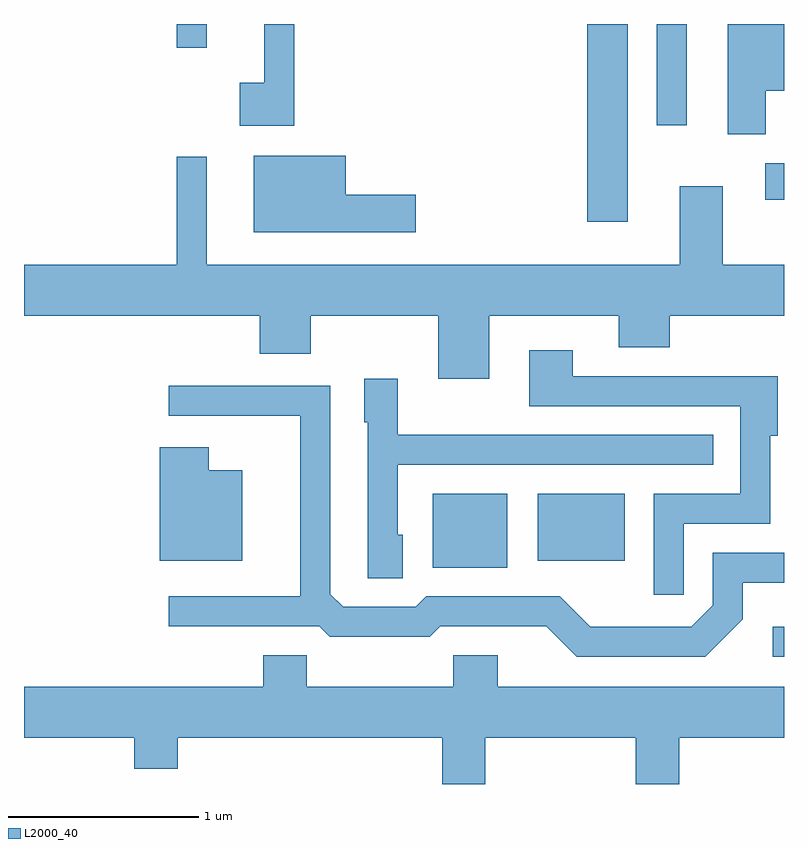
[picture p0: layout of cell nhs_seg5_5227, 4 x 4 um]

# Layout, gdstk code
import gdstk
lib = gdstk.Library(unit=1e-6, precision=1e-09)
def R(c, l, rs):  # rectangles x0, y0, x1, y1
    for r in rs: c.add(gdstk.rectangle(r[:2], r[2:], *l))
def P(c, l, *ps):  # polygons
    for p in ps: c.add(gdstk.Polygon(p, *l))
L2000_40 = (2000, 40)

nhs_seg5_5227 = lib.new_cell('nhs_seg5_5227')
R(nhs_seg5_5227, L2000_40, [(343.553,1492.741,343.611,1492.899), (341.761,1493.211,342.154,1493.599), (342.316,1493.246,342.774,1493.599), (342.576,1495.031,342.789,1496.072), (343.511,1495.146,343.611,1495.339), (342.941,1495.538,343.099,1496.072), (340.416,1495.948,340.574,1496.072)])
P(nhs_seg5_5227, L2000_40, [(343.514,1495.721),(343.611,1495.721),(343.611,1496.072),(343.316,1496.072),(343.316,1495.491),(343.514,1495.491)],
  [(341.034,1496.072),(340.876,1496.072),(340.876,1495.764),(340.746,1495.764),(340.746,1495.536),(341.034,1495.536)],
  [(341.674,1495.174),(341.304,1495.174),(341.304,1495.379),(340.821,1495.379),(340.821,1494.976),(341.674,1494.976)],
  [(342.059,1494.536),(342.741,1494.536),(342.741,1494.371),(343.009,1494.371),(343.009,1494.536),(343.611,1494.536),(343.611,1494.804),(343.289,1494.804),(343.289,1495.219),(343.061,1495.219),(343.061,1494.804),(340.574,1494.804),(340.574,1495.373),(340.416,1495.373),(340.416,1494.804),(339.611,1494.804),(339.611,1494.536),(340.851,1494.536),(340.851,1494.336),(341.119,1494.336),(341.119,1494.536),(341.791,1494.536),(341.791,1494.206),(342.059,1494.206)],
  [(343.084,1493.441),(343.539,1493.441),(343.539,1493.906),(343.579,1493.906),(343.579,1494.219),(342.499,1494.219),(342.499,1494.354),(342.271,1494.354),(342.271,1494.061),(343.381,1494.061),(343.381,1493.599),(342.926,1493.599),(342.926,1493.068),(343.084,1493.068)],
  [(341.604,1493.384),(341.579,1493.384),(341.579,1493.751),(343.238,1493.751),(343.238,1493.909),(341.579,1493.909),(341.579,1494.204),(341.401,1494.204),(341.401,1493.976),(341.421,1493.976),(341.421,1493.156),(341.604,1493.156)],
  [(343.394,1492.939),(343.394,1493.131),(343.611,1493.131),(343.611,1493.289),(343.236,1493.289),(343.236,1493.012),(343.124,1492.899),(342.592,1492.899),(342.432,1493.059),(341.729,1493.059),(341.674,1493.004),(341.292,1493.004),(341.224,1493.072),(341.224,1494.169),(340.373,1494.169),(340.373,1494.011),(341.066,1494.011),(341.066,1493.059),(340.373,1493.059),(340.373,1492.901),(341.164,1492.901),(341.219,1492.846),(341.747,1492.846),(341.802,1492.901),(342.359,1492.901),(342.519,1492.741),(343.197,1492.741)],
  [(340.759,1493.724),(340.584,1493.724),(340.584,1493.844),(340.326,1493.844),(340.326,1493.246),(340.759,1493.246)],
  [(342.039,1492.316),(342.831,1492.316),(342.831,1492.072),(343.059,1492.072),(343.059,1492.316),(343.611,1492.316),(343.611,1492.584),(342.104,1492.584),(342.104,1492.749),(341.871,1492.749),(341.871,1492.584),(341.099,1492.584),(341.099,1492.749),(340.871,1492.749),(340.871,1492.584),(339.611,1492.584),(339.611,1492.316),(340.191,1492.316),(340.191,1492.151),(340.419,1492.151),(340.419,1492.316),(341.811,1492.316),(341.811,1492.072),(342.039,1492.072)])

lib.write_gds('nhs_seg5_5227.gds')
